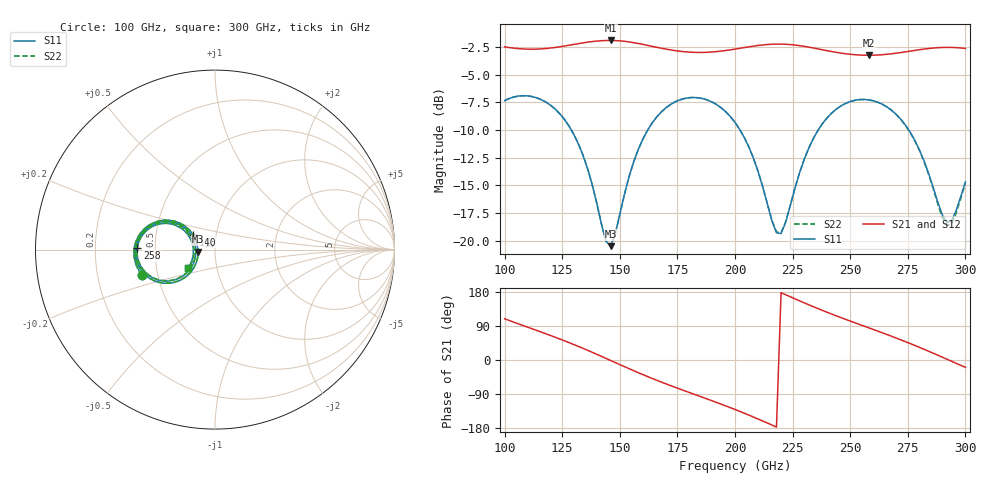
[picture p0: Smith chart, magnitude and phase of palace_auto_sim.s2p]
#  GHZ S DB R 50
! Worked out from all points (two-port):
!   101 points, 100 GHz to 300 GHz, reference 50 ohm
!   highest |S21| = -1.89 dB at 146 GHz (marker M1); lowest = -3.2 dB at 258 GHz (marker M2)
!   |S21| within 3 dB of the highest: start of sweep to end of sweep
!   lowest |S11| = -20.5 dB at 146 GHz (marker M3), VSWR 1.21, Z = 41.4 - j0.996 ohm
!   |S11| at or under -10 dB: 129 GHz to 162.1 GHz (33.12 GHz wide, 22.8 % of centre); 202.2 GHz to 236.1 GHz (33.87 GHz wide, 15.5 % of centre); 275.4 GHz to end of sweep
!   |S22| runs from -20.5 to -6.9 dB; largest |S21 - S12| = 8.9e-14
!   S11 on the Smith chart (normalised r, x): 100 GHz: 0.41, -0.14; 140 GHz: 0.77, +0.13; 258 GHz: 0.40, +0.01; 300 GHz: 0.72, -0.16
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100  -7.33 -160.8  -2.47 108.8  -2.47 108.8  -7.34 -160.8
108  -6.89 -175.4  -2.66 91.0  -2.66 91.0  -6.89 -175.4
118  -7.48 166.9  -2.62 69.0  -2.62 69.0  -7.48 166.9
126  -9.04 153.3  -2.40 50.6  -2.40 50.6  -9.04 153.3
134  -12.26 142.9  -2.11 30.8  -2.11 30.8  -12.25 143.0
140  -16.62 145.7  -1.95 15.0  -1.95 15.0  -16.61 145.7
144  -20.05 167.5  -1.90 4.2  -1.90 4.2  -20.04 167.4
146  -20.49 -172.8  -1.89 -1.2  -1.89 -1.2  -20.48 -172.9
158  -11.76 -138.6  -2.17 -33.4  -2.17 -33.4  -11.76 -138.6
168  -8.36 -153.1  -2.60 -58.1  -2.60 -58.1  -8.36 -153.2
184  -7.08 179.4  -2.98 -94.2  -2.98 -94.2  -7.07 179.4
200  -9.30 153.3  -2.68 -130.6  -2.68 -130.6  -9.30 153.3
208  -12.54 144.7  -2.41 -150.5  -2.41 -150.5  -12.52 144.7
218  -19.29 172.9  -2.22 -177.0  -2.22 -177.0  -19.21 172.7
222  -18.34 -156.1  -2.24 172.2  -2.24 172.2  -18.28 -156.6
234  -10.76 -143.7  -2.58 140.7  -2.58 140.7  -10.76 -144.2
246  -7.81 -161.5  -3.04 111.9  -3.04 111.9  -7.81 -161.9
258  -7.26 178.8  -3.23 85.0  -3.23 85.0  -7.27 178.3
268  -8.21 162.9  -3.10 62.5  -3.10 62.5  -8.23 162.2
280  -11.76 148.4  -2.73 33.6  -2.73 33.6  -11.82 147.4
292  -18.34 177.7  -2.52 2.0  -2.52 2.0  -18.64 177.2
300  -14.68 -145.6  -2.62 -19.4  -2.62 -19.4  -14.80 -144.9
